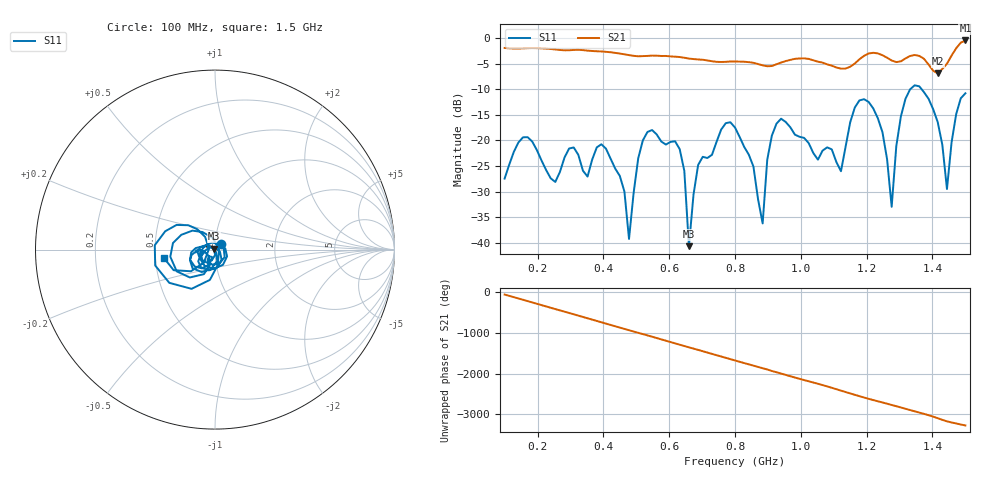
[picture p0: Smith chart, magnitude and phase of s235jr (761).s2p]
! NanoVNA-App
! Date: 2025-09-25 15:10:05
! Start: 100MHz Stop: 1,5GHz Points: 101
! S-Parameter data: F S11 S21 S12 S22
# Hz S RI R 50
!  Frequency  S11_Real  S11_Imag  S21_Real  S21_Imag  S12_Real  S12_Imag  S22_Real  S22_Imag
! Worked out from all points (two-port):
!   101 points, 100 MHz to 1.5 GHz, reference 50 ohm
!   highest |S21| = -0.50 dB at 1.5 GHz (marker M1); lowest = -6.9 dB at 1.416 GHz (marker M2)
!   |S21| within 3 dB of the highest: start of sweep to 491.7 MHz; 1.192 GHz to 1.251 GHz (59.24 MHz wide, 4.85 % of centre) (the widest 2 of 5)
!   lowest |S11| = -40.7 dB at 660 MHz (marker M3), VSWR 1.02, Z = 49.2 + j0.526 ohm
!   |S11| at or under -10 dB: start of sweep to 1.333 GHz; 1.367 GHz to end of sweep
!   S12 and S22 are empty: the file has one direction only
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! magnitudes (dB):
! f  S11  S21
! 100 MHz  -27.5  -2.0
! 156 MHz  -19.4  -2.0
! 338 MHz  -25.9  -2.4
! 408 MHz  -21.6  -2.7
! 478 MHz  -39.3  -3.4
! 520 MHz  -20.0  -3.6
! 576 MHz  -20.2  -3.5
! 632 MHz  -21.7  -3.7
! 660 MHz  -40.7  -4.0
! 688 MHz  -24.8  -4.2
! 800 MHz  -17.5  -4.6
! 884 MHz  -36.2  -5.4
! 926 MHz  -16.8  -5.1
! 1.038 GHz  -22.5  -4.4
! 1.122 GHz  -26.0  -6.0
! 1.206 GHz  -12.5  -3.0
! 1.248 GHz  -18.4  -3.4
! 1.276 GHz  -33.0  -4.4
! 1.332 GHz  -10.0  -3.5
! 1.416 GHz  -16.5  -6.9
! 1.444 GHz  -29.5  -5.1
! 1.5 GHz  -10.8  -0.5
